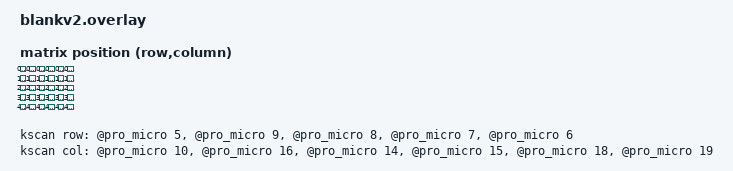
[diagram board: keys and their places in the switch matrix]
#include <dt-bindings/gpio/gpio.h>
#include <dt-bindings/zmk/matrix_transform.h> 
#include <physical_layouts.dtsi>

/ {
    kscan: kscan {
        compatible = "zmk,kscan-gpio-matrix";
        diode-direction = "col2row";

        col-gpios
            = <&@pro_micro 10 GPIO_ACTIVE_LOW>
            , <&@pro_micro 16 GPIO_ACTIVE_LOW>
            , <&@pro_micro 14 GPIO_ACTIVE_LOW>
            , <&@pro_micro 15 GPIO_ACTIVE_LOW>
            , <&@pro_micro 18 GPIO_ACTIVE_LOW>
            , <&@pro_micro 19 GPIO_ACTIVE_LOW>
            ;
            
        row-gpios
            = <&@pro_micro 5 (GPIO_ACTIVE_LOW | GPIO_PULL_UP)> 
            , <&@pro_micro 9 (GPIO_ACTIVE_LOW | GPIO_PULL_UP)> 
            , <&@pro_micro 8 (GPIO_ACTIVE_LOW | GPIO_PULL_UP)> 
            , <&@pro_micro 7 (GPIO_ACTIVE_LOW | GPIO_PULL_UP)> 
            , <&@pro_micro 6 (GPIO_ACTIVE_LOW | GPIO_PULL_UP)> 
            ;
    
    };
    
    default_transform: matrix_transform {
        compatible = "zmk,matrix-transform";
        columns = <6>;
        rows = <5>;
        map = <
            RC(0,0) RC(0,1) RC(0,2) RC(0,3) RC(0,4) RC(0,5)
            RC(1,0) RC(1,1) RC(1,2) RC(1,3) RC(1,4) RC(1,5)
            RC(2,0) RC(2,1) RC(2,2) RC(2,3) RC(2,4) RC(2,5)
            RC(3,0) RC(3,1) RC(3,2) RC(3,3) RC(3,4) RC(3,5)
            RC(4,0) RC(4,1) RC(4,2) RC(4,3) RC(4,4) RC(4,5)
        >;
    };
    
    physical_layout: physical_layout {
        compatible = "zmk,physical-layout";
        display-name = "Default Layout";
        transform = <&default_transform>;
        // Each key: <&key_physical_attrs width height x y rotation rx ry>
        // Example: 6 columns x 5 rows, 19mm spacing, 19mm key size, no rotation
        keys =
            <&key_physical_attrs 19 19 0 0 0 0 0>,    <&key_physical_attrs 19 19 19 0 0 0 0>,    <&key_physical_attrs 19 19 38 0 0 0 0>,    <&key_physical_attrs 19 19 57 0 0 0 0>,    <&key_physical_attrs 19 19 76 0 0 0 0>,    <&key_physical_attrs 19 19 95 0 0 0 0>,
            <&key_physical_attrs 19 19 0 19 0 0 0>,   <&key_physical_attrs 19 19 19 19 0 0 0>,   <&key_physical_attrs 19 19 38 19 0 0 0>,   <&key_physical_attrs 19 19 57 19 0 0 0>,   <&key_physical_attrs 19 19 76 19 0 0 0>,   <&key_physical_attrs 19 19 95 19 0 0 0>,
            <&key_physical_attrs 19 19 0 38 0 0 0>,   <&key_physical_attrs 19 19 19 38 0 0 0>,   <&key_physical_attrs 19 19 38 38 0 0 0>,   <&key_physical_attrs 19 19 57 38 0 0 0>,   <&key_physical_attrs 19 19 76 38 0 0 0>,   <&key_physical_attrs 19 19 95 38 0 0 0>,
            <&key_physical_attrs 19 19 0 57 0 0 0>,   <&key_physical_attrs 19 19 19 57 0 0 0>,   <&key_physical_attrs 19 19 38 57 0 0 0>,   <&key_physical_attrs 19 19 57 57 0 0 0>,   <&key_physical_attrs 19 19 76 57 0 0 0>,   <&key_physical_attrs 19 19 95 57 0 0 0>,
            <&key_physical_attrs 19 19 0 76 0 0 0>,   <&key_physical_attrs 19 19 19 76 0 0 0>,   <&key_physical_attrs 19 19 38 76 0 0 0>,   <&key_physical_attrs 19 19 57 76 0 0 0>,   <&key_physical_attrs 19 19 76 76 0 0 0>,   <&key_physical_attrs 19 19 95 76 0 0 0>;
        // Adjust these values to match your actual key layout if needed
    };
    
    chosen {
        zmk,kscan = &kscan;
        zmk,physical-layout = &physical_layout;
    };
};
